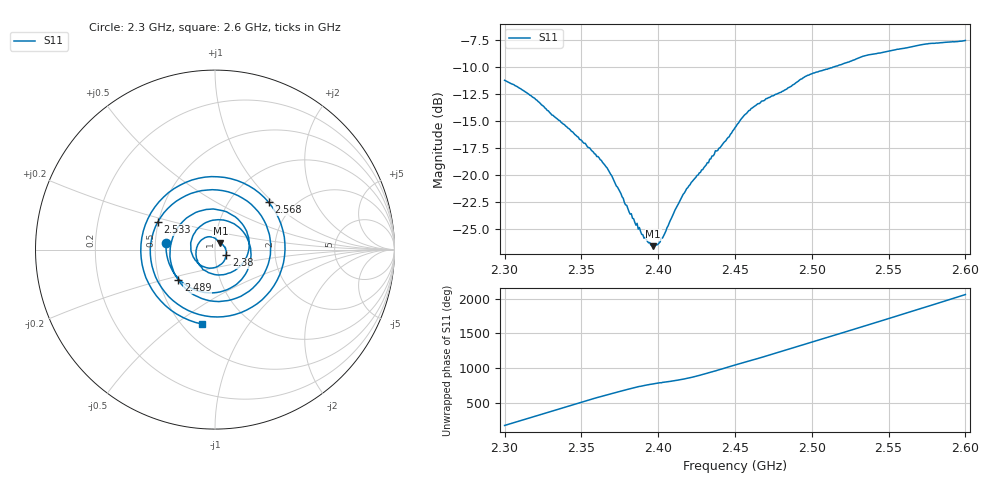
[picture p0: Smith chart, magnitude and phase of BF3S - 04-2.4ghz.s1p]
! NanoVNA-App
! Date: 2026-05-22 16:33:24
! Start: 2.3GHz Stop: 2.6GHz Points: 401
! S-Parameter data: F S11
# Hz S RI R 50
!  Frequency  S11_Real  S11_Imag
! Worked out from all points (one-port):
!   401 points, 2.3 GHz to 2.6 GHz, reference 50 ohm
!   lowest |S11| = -26.6 dB at 2.397 GHz (marker M1), VSWR 1.10, Z = 52.9 + j3.86 ohm
!   |S11| at or under -10 dB: start of sweep to 2.514 GHz
!   S11 on the Smith chart (normalised r, x): 2.3 GHz: 0.57, +0.05; 2.38 GHz: 1.13, -0.07; 2.489 GHz: 0.63, -0.23; 2.533 GHz: 0.50, +0.18; 2.568 GHz: 1.50, +0.94; 2.6 GHz: 0.62, -0.63
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2.3e9  -0.2726 0.0395
2.315e9  0.00736 -0.2394
2.32625e9  0.1995 -0.0473
2.3375e9  0.0777 0.1561
2.35325e9  -0.1352 0.0268
2.375e9  0.0452 -0.0709
2.38025e9  0.0626 -0.0316
2.39675e9  0.0297 0.0364
2.4125e9  -0.0182 0.0699
2.432e9  -0.1031 -0.0498
2.45e9  0.1341 -0.0981
2.4605e9  0.1768 0.1012
2.471e9  -0.0303 0.2248
2.4875e9  -0.2284 -0.1283
2.489e9  -0.2043 -0.1699
2.49875e9  0.0734 -0.2838
2.50925e9  0.3086 -0.0279
2.516e9  0.241 0.2112
2.525e9  -0.0756 0.3285
2.5325e9  -0.3187 0.1544
2.54e9  -0.3308 -0.1528
2.549e9  -0.0222 -0.374
2.5625e9  0.3902 -0.000102
2.5685e9  0.2986 0.2639
2.5775e9  -0.0923 0.3973
2.5865e9  -0.3994 0.1038
2.5925e9  -0.3685 -0.1907
2.6e9  -0.0719 -0.4149
